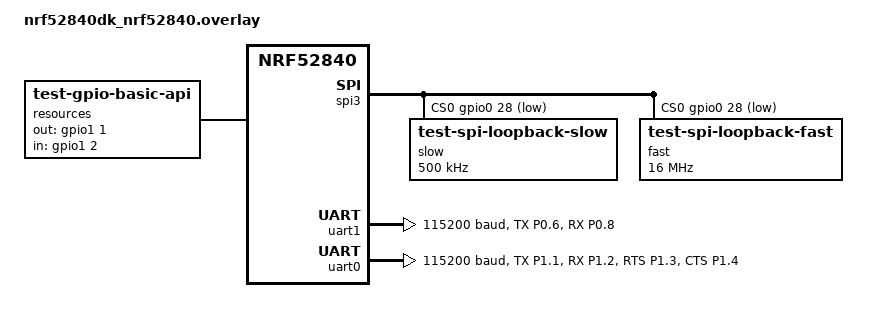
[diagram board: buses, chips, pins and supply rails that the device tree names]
/*
 * Copyright (c) 2022 Nordic Semiconductor ASA
 *
 * SPDX-License-Identifier: Apache-2.0
 */

&spi3 {
	overrun-character = <0x00>;
	rx-delay = <1>;
	cs-gpios = <&gpio0 28 GPIO_ACTIVE_LOW>;
	zephyr,pm-device-runtime-auto;

	slow@0 {
		compatible = "test-spi-loopback-slow";
		reg = <0>;
		spi-max-frequency = <500000>;
	};

	fast@0 {
		compatible = "test-spi-loopback-fast";
		reg = <0>;
		spi-max-frequency = <16000000>;
	};
};

#include "nordic,nrf-saadc-common.dtsi"

/ {
	resources {
		compatible = "test-gpio-basic-api";
		out-gpios = <&gpio1 1 0>;
		in-gpios = <&gpio1 2 0>;
	};
};

&pinctrl {
	uart1_default_alt: uart1_default_alt {
		group1 {
			psels = <NRF_PSEL(UART_TX, 0, 6)>,
				<NRF_PSEL(UART_RX, 0, 8)>;
		};
	};
	uart1_sleep_alt: uart1_sleep_alt {
		group1 {
			psels = <NRF_PSEL(UART_TX, 0, 6)>,
				<NRF_PSEL(UART_RX, 0, 8)>;
			low-power-enable;
		};
	};
	uart0_default_alt: uart0_default_alt {
		group1 {
			psels = <NRF_PSEL(UART_TX, 1, 1)>,
				<NRF_PSEL(UART_RX, 1, 2)>,
				<NRF_PSEL(UART_RTS, 1, 3)>,
				<NRF_PSEL(UART_CTS, 1, 4)>;
		};
	};
	uart0_sleep_alt: uart0_sleep_alt {
		group1 {
			psels = <NRF_PSEL(UART_TX, 1, 1)>,
				<NRF_PSEL(UART_RX, 1, 2)>,
				<NRF_PSEL(UART_RTS, 1, 3)>,
				<NRF_PSEL(UART_CTS, 1, 4)>;
			low-power-enable;
		};
	};
};

/ {
	chosen {
		zephyr,console = &uart1;
	};
};

&uart1 {
	current-speed = <115200>;
	status = "okay";
	pinctrl-0 = <&uart1_default_alt>;
	pinctrl-1 = <&uart1_sleep_alt>;
	pinctrl-names = "default", "sleep";
};

dut: &uart0 {
	compatible = "nordic,nrf-uarte";
	current-speed = <115200>;
	status = "okay";
	pinctrl-0 = <&uart0_default_alt>;
	pinctrl-1 = <&uart0_sleep_alt>;
	pinctrl-names = "default", "sleep";
};
